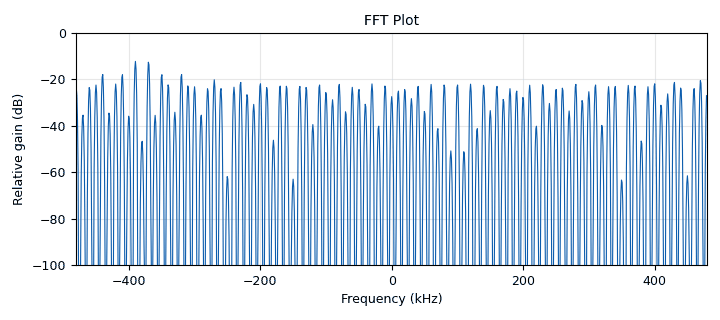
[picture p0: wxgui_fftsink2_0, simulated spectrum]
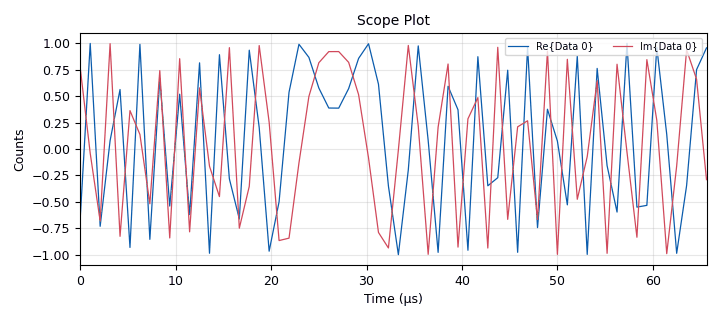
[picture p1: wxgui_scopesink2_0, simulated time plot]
<?xml version='1.0' encoding='utf-8'?>
<?grc format='1' created='3.7.9'?>
<flow_graph>
<block>
<key>options</key>
<param><key>id</key><value>top_block</value></param>
<param><key>category</key><value>Custom</value></param>
<param><key>generate_options</key><value>wx_gui</value></param>
</block>
<block>
<key>variable</key>
<param><key>id</key><value>samp_rate</value></param>
<param><key>value</key><value>960e3</value></param>
</block>
<block>
<key>analog_phase_modulator_fc</key>
<param><key>id</key><value>analog_phase_modulator_fc_0</value></param>
<param><key>sensitivity</key><value>2*3.142*samp_rate</value></param>
</block>
<block>
<key>analog_sig_source_x</key>
<param><key>id</key><value>analog_sig_source_x_0</value></param>
<param><key>amp</key><value>1</value></param>
<param><key>freq</key><value>100000</value></param>
<param><key>offset</key><value>0</value></param>
<param><key>type</key><value>complex</value></param>
<param><key>samp_rate</key><value>samp_rate</value></param>
<param><key>waveform</key><value>analog.GR_COS_WAVE</value></param>
</block>
<block>
<key>blocks_multiply_xx</key>
<param><key>id</key><value>blocks_multiply_xx_0</value></param>
<param><key>type</key><value>complex</value></param>
</block>
<block>
<key>blocks_throttle</key>
<param><key>id</key><value>blocks_throttle_0</value></param>
<param><key>samples_per_second</key><value>samp_rate</value></param>
<param><key>type</key><value>complex</value></param>
</block>
<block>
<key>dc_blocker_xx</key>
<param><key>id</key><value>dc_blocker_xx_0</value></param>
<param><key>length</key><value>32</value></param>
<param><key>long_form</key><value>True</value></param>
<param><key>type</key><value>ff</value></param>
</block>
<block>
<key>iir_filter_xxx</key>
<param><key>id</key><value>iir_filter_xxx_0</value></param>
<param><key>fftaps</key><value>[1/samp_rate]</value></param>
<param><key>fbtaps</key><value>[1,1]</value></param>
<param><key>type</key><value>ffd</value></param>
</block>
<block>
<key>analog_sig_source_x</key>
<param><key>id</key><value>message</value></param>
<param><key>amp</key><value>1</value></param>
<param><key>freq</key><value>10000</value></param>
<param><key>offset</key><value>0</value></param>
<param><key>type</key><value>float</value></param>
<param><key>samp_rate</key><value>samp_rate</value></param>
<param><key>waveform</key><value>analog.GR_COS_WAVE</value></param>
</block>
<block>
<key>notebook</key>
<param><key>id</key><value>notebook_0</value></param>
<param><key>labels</key><value>['scope', 'fft']</value></param>
<param><key>style</key><value>wx.NB_TOP</value></param>
</block>
<block>
<key>wxgui_fftsink2</key>
<param><key>id</key><value>wxgui_fftsink2_0</value></param>
<param><key>avg_alpha</key><value>0</value></param>
<param><key>average</key><value>False</value></param>
<param><key>baseband_freq</key><value>0</value></param>
<param><key>fft_size</key><value>1024</value></param>
<param><key>freqvar</key><value>None</value></param>
<param><key>notebook</key><value>notebook_0, 1</value></param>
<param><key>peak_hold</key><value>False</value></param>
<param><key>ref_level</key><value>0</value></param>
<param><key>ref_scale</key><value>2.0</value></param>
<param><key>fft_rate</key><value>15</value></param>
<param><key>samp_rate</key><value>samp_rate</value></param>
<param><key>title</key><value>FFT Plot</value></param>
<param><key>type</key><value>complex</value></param>
<param><key>win</key><value>None</value></param>
<param><key>y_divs</key><value>10</value></param>
<param><key>y_per_div</key><value>10</value></param>
</block>
<block>
<key>wxgui_scopesink2</key>
<param><key>id</key><value>wxgui_scopesink2_0</value></param>
<param><key>ac_couple</key><value>False</value></param>
<param><key>notebook</key><value>notebook_0, 0</value></param>
<param><key>num_inputs</key><value>1</value></param>
<param><key>samp_rate</key><value>samp_rate</value></param>
<param><key>t_scale</key><value>0</value></param>
<param><key>title</key><value>Scope Plot</value></param>
<param><key>trig_mode</key><value>wxgui.TRIG_MODE_AUTO</value></param>
<param><key>type</key><value>complex</value></param>
<param><key>v_offset</key><value>0</value></param>
<param><key>v_scale</key><value>0</value></param>
<param><key>xy_mode</key><value>False</value></param>
<param><key>y_axis_label</key><value>Counts</value></param>
</block>
<connection><source_block_id>analog_phase_modulator_fc_0</source_block_id><sink_block_id>blocks_multiply_xx_0</sink_block_id><source_key>0</source_key><sink_key>0</sink_key></connection>
<connection><source_block_id>analog_sig_source_x_0</source_block_id><sink_block_id>blocks_multiply_xx_0</sink_block_id><source_key>0</source_key><sink_key>1</sink_key></connection>
<connection><source_block_id>blocks_multiply_xx_0</source_block_id><sink_block_id>blocks_throttle_0</sink_block_id><source_key>0</source_key><sink_key>0</sink_key></connection>
<connection><source_block_id>blocks_throttle_0</source_block_id><sink_block_id>wxgui_fftsink2_0</sink_block_id><source_key>0</source_key><sink_key>0</sink_key></connection>
<connection><source_block_id>blocks_throttle_0</source_block_id><sink_block_id>wxgui_scopesink2_0</sink_block_id><source_key>0</source_key><sink_key>0</sink_key></connection>
<connection><source_block_id>dc_blocker_xx_0</source_block_id><sink_block_id>analog_phase_modulator_fc_0</sink_block_id><source_key>0</source_key><sink_key>0</sink_key></connection>
<connection><source_block_id>iir_filter_xxx_0</source_block_id><sink_block_id>dc_blocker_xx_0</sink_block_id><source_key>0</source_key><sink_key>0</sink_key></connection>
<connection><source_block_id>message</source_block_id><sink_block_id>iir_filter_xxx_0</sink_block_id><source_key>0</source_key><sink_key>0</sink_key></connection>
</flow_graph>
